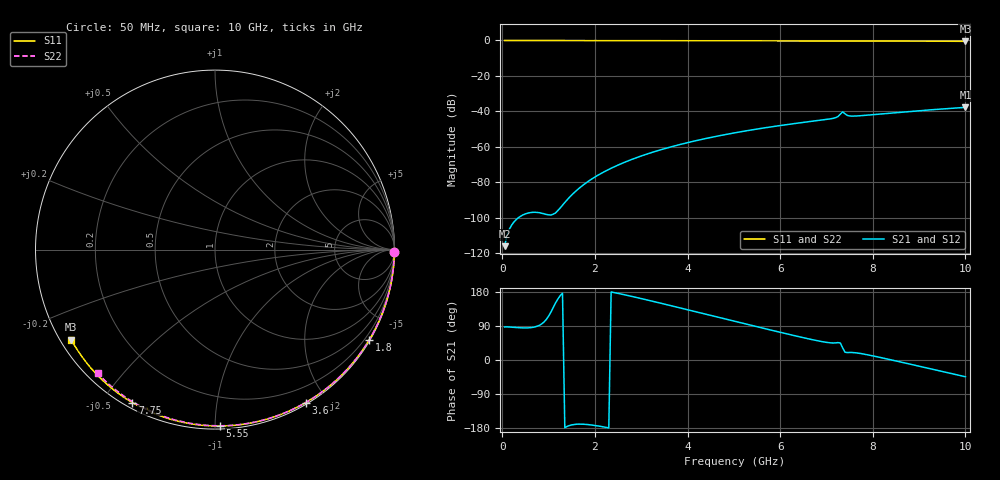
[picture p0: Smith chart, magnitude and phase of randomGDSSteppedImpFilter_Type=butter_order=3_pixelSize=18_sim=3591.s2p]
! freq	dB(S11)	phase(S11)	dB(S12)	phase(S12)
!  dB(S21)	phase(S21)	dB(S22)	phase(S22)
!S-par simulation data
#  GHz  S  DB  R 50
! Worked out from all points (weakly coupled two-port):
!   200 points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, 50 MHz to 10 GHz, reference 50 ohm
!   highest |S21| = -37.75 dB at 10 GHz (marker M1); lowest = -116.0 dB at 50 MHz (marker M2)
!   lowest |S11| = -0.5 dB at 10 GHz (marker M3), VSWR 35.63, Z = 1.52 - j14.4 ohm
!   |S11| at or under -10 dB: nowhere
!   |S22| runs from -0.4 to 0.0 dB; largest |S21 - S12| = 0
!   S11 on the Smith chart (normalised r, x): 50 MHz: open; 1.8 GHz: 0.03, -3.67; 3.6 GHz: 0.02, -1.75; 5.55 GHz: 0.02, -1.03; 7.75 GHz: 0.02, -0.60; 10 GHz: 0.03, -0.29
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0.05  -0.00 -0.9  -116.04 87.2  -116.04 87.2  -0.00 -0.8
0.9  -0.02 -15.4  -97.77 100.1  -97.77 100.1  -0.02 -13.8
1.75  -0.04 -29.6  -81.47 -169.5  -81.47 -169.5  -0.03 -26.6
1.8  -0.04 -30.5  -80.50 -169.9  -80.50 -169.9  -0.03 -27.4
1.85  -0.04 -31.3  -79.58 -170.5  -79.58 -170.5  -0.04 -28.1
2.2  -0.05 -37.0  -74.07 -176.8  -74.07 -176.8  -0.04 -33.3
2.55  -0.05 -42.7  -69.71 174.5  -69.71 174.5  -0.05 -38.4
2.95  -0.06 -49.2  -65.63 163.5  -65.63 163.5  -0.06 -44.2
3.4  -0.07 -56.3  -61.82 150.5  -61.82 150.5  -0.07 -50.6
3.6  -0.08 -59.4  -60.33 144.6  -60.33 144.6  -0.07 -53.5
4.3  -0.10 -70.1  -55.84 123.7  -55.84 123.7  -0.09 -63.2
5.05  -0.12 -81.2  -51.96 101.2  -51.96 101.2  -0.11 -73.3
5.55  -0.14 -88.4  -49.76 86.3  -49.76 86.3  -0.13 -79.8
6.7  -0.20 -104.4  -45.56 53.5  -45.56 53.5  -0.18 -94.4
7.2  -0.24 -111.3  -43.53 45.2  -43.53 45.2  -0.21 -100.5
7.25  -0.26 -112.1  -42.89 45.9  -42.89 45.9  -0.22 -101.1
7.35  -0.34 -113.1  -40.25 31.9  -40.25 31.9  -0.22 -102.3
7.45  -0.28 -114.2  -42.27 19.6  -42.27 19.6  -0.22 -103.6
7.5  -0.27 -114.9  -42.59 19.9  -42.59 19.9  -0.23 -104.2
7.75  -0.28 -118.4  -42.42 16.9  -42.42 16.9  -0.24 -107.2
8.35  -0.32 -126.3  -41.04 1.6  -41.04 1.6  -0.29 -114.3
10  -0.49 -147.9  -37.75 -44.2  -37.75 -44.2  -0.45 -133.4
